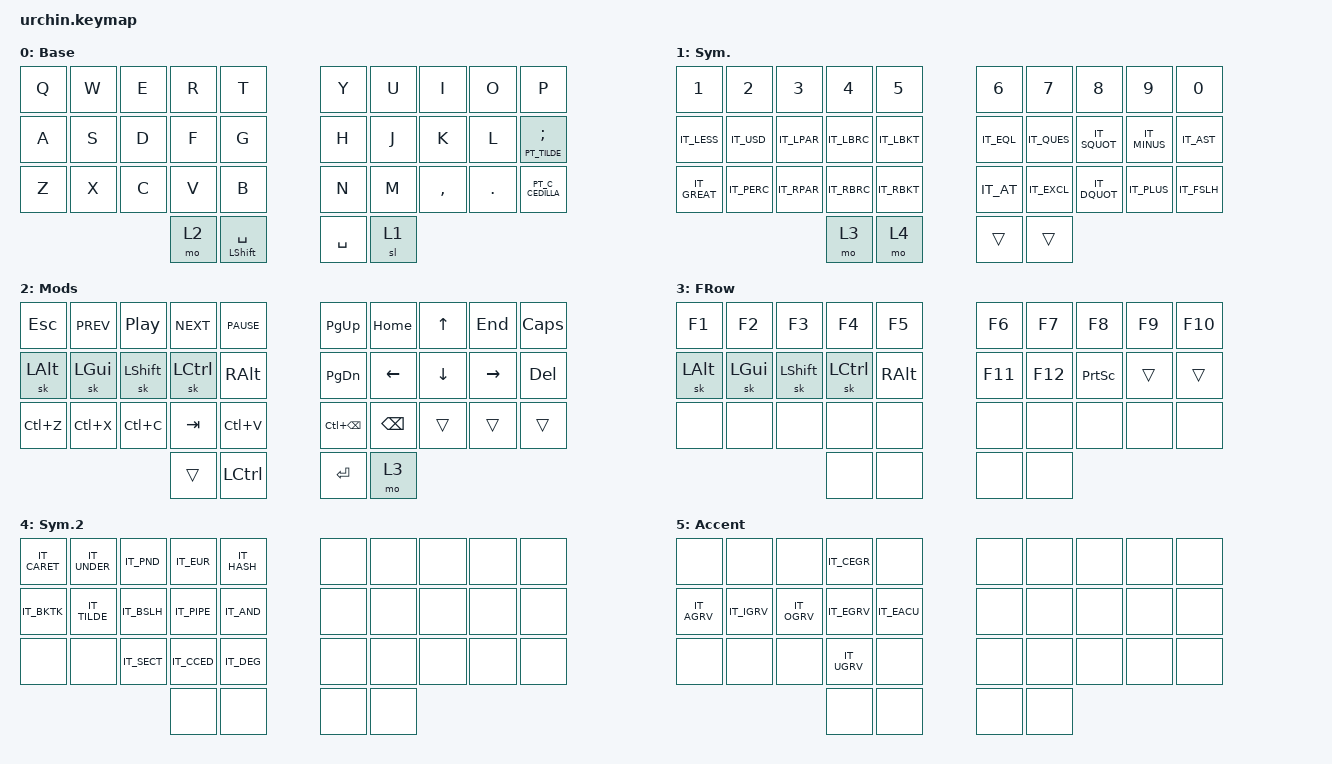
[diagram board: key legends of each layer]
/*
 * Copyright (c) 2020 duckyb
 *
 * SPDX-License-Identifier: MIT
 */

#include <behaviors.dtsi>
#include <dt-bindings/zmk/keys.h>
#include "keymap_italian.h"
#include "keys_pt_abnt2.h"

// Layer definitions

#define BASE 0
#define SYM 1
#define EXT 2
#define FNC 3
#define SYM2 4
#define ACCENT 5
#define SETTINGS 6

// -----------------

&sk {
    // don't release mods on other mods presses

    ignore-modifiers;
};

/ {
    behaviors {
        // Enables holding the first mod-tap key
        // by performing a tap-release-hold sequence.
        // To use it: "&qt KEYCODE1 KEYCODE2"

        qt: quick_tap {
            compatible = "zmk,behavior-hold-tap";
            label = "QUICK_TAP";
            #binding-cells = <2>;
            flavor = "hold-preferred";
            tapping-term-ms = <200>;
            quick-tap-ms = <200>;
            bindings = <&kp>, <&kp>;
        };
    };

    macros {
        // sometimes my device thinks a modifier is being held down
        // pressing all modifiers fixes it.

        unstick: unstick {
            label = "ZM_unstick";
            compatible = "zmk,behavior-macro";
            #binding-cells = <0>;
            bindings = <&kp LSHIFT &kp RSHIFT &kp LCTRL &kp RCTRL &kp LALT &kp RALT &kp LGUI &kp RGUI>;
        };
    };

    combos {
        compatible = "zmk,combos";

        // both right thumb keys

        combo_accent {
            timeout-ms = <200>;
            key-positions = <32 33>;
            bindings = <&mo 5>;
        };

        // internal-left & external-right thumb keys

        combo_sym2 {
            timeout-ms = <200>;
            key-positions = <31 33>;
            bindings = <&mo 4>;
        };

        // both left thumb keys

        combo_settings {
            timeout-ms = <200>;
            key-positions = <30 31>;
            bindings = <&mo 0>;
        };

        // left index & middle fingers (home-row)
        // hold control & space for Adobe workflow

        combo_ctrl_space {
            timeout-ms = <200>;
            key-positions = <12 13>;
            bindings = <&kp LC(SPACE)>;
            layers = <0>;
        };

        combo_studio_unlock {
            timeout-ms = <50>;
            key-positions = <0 1>; // Change these numbers to the keys you want to press together
            bindings = <&studio_unlock>;
        };
    };

    keymap {
        compatible = "zmk,keymap";

        // Base alpha layer

        default_layer {
            label = "Base";
            bindings = <
&kp Q  &kp W  &kp E  &kp R  &kp T             &kp Y      &kp U  &kp I      &kp O    &kp P
&kp A  &kp S  &kp D  &kp F  &kp G             &kp H      &kp J  &kp K      &kp L    &qt PT_TILDE SEMI
&kp Z  &kp X  &kp C  &kp V  &kp B             &kp N      &kp M  &kp COMMA  &kp DOT  &kp PT_C_CEDILLA
                     &mo 2  &qt LSHIFT SPACE  &kp SPACE  &sl 1
            >;
        };

        // Numbers and high frequency symbols

        sym_layer {
            label = "Sym.";
            bindings = <
&kp N1        &kp N2       &kp N3       &kp N4       &kp N5       &kp N6      &kp N7       &kp N8        &kp N9        &kp N0
&kp IT_LESS   &kp IT_USD   &kp IT_LPAR  &kp IT_LBRC  &kp IT_LBKT  &kp IT_EQL  &kp IT_QUES  &kp IT_SQUOT  &kp IT_MINUS  &kp IT_AST
&kp IT_GREAT  &kp IT_PERC  &kp IT_RPAR  &kp IT_RBRC  &kp IT_RBKT  &kp IT_AT   &kp IT_EXCL  &kp IT_DQUOT  &kp IT_PLUS   &kp IT_FSLH
                                        &mo 3        &mo 4        &trans      &trans
            >;
        };

        // Main modifiers and arrow keys

        ext_layer {
            label = "Mods";
            bindings = <
&kp ESC    &kp C_PREV  &kp C_PP    &kp C_NEXT  &kp C_PAUSE  &kp PG_UP     &kp HOME  &kp UP    &kp END    &kp CAPS
&sk LALT   &sk LGUI    &sk LSHIFT  &sk LCTRL   &kp RALT     &kp PG_DN     &kp LEFT  &kp DOWN  &kp RIGHT  &kp DEL
&kp LC(Z)  &kp LC(X)   &kp LC(C)   &kp TAB     &kp LC(V)    &kp LC(BSPC)  &kp BSPC  &trans    &trans     &trans
                                   &trans      &kp LCTRL    &kp ENTER     &mo 3
            >;
        };

        // Function keys with modifiers

        fnc_layer {
            label = "FRow";
            bindings = <
&kp F1    &kp F2    &kp F3      &kp F4     &kp F5    &kp F6   &kp F7   &kp F8           &kp F9  &kp F10
&sk LALT  &sk LGUI  &sk LSHIFT  &sk LCTRL  &kp RALT  &kp F11  &kp F12  &kp PRINTSCREEN  &trans  &trans
&none     &none     &none       &none      &none     &none    &none    &none            &none   &none
                                &none      &none     &none    &none
            >;
        };

        // Low frequency symbols.

        symbols_2_layer {
            label = "Sym.2";
            bindings = <
&kp IT_CARET  &kp IT_UNDER  &kp IT_PND   &kp IT_EUR   &kp IT_HASH  &none  &none  &none  &none  &none
&kp IT_BKTK   &kp IT_TILDE  &kp IT_BSLH  &kp IT_PIPE  &kp IT_AND   &none  &none  &none  &none  &none
&none         &none         &kp IT_SECT  &kp IT_CCED  &kp IT_DEG   &none  &none  &none  &none  &none
                                         &none        &none        &none  &none
            >;
        };

        // Used to type regional accents.

        accent_layer {
            label = "Accent";
            bindings = <
&none        &none        &none        &kp IT_CEGR  &none        &none  &none  &none  &none  &none
&kp IT_AGRV  &kp IT_IGRV  &kp IT_OGRV  &kp IT_EGRV  &kp IT_EACU  &none  &none  &none  &none  &none
&none        &none        &none        &kp IT_UGRV  &none        &none  &none  &none  &none  &none
                                       &none        &none        &none  &none
            >;
        };

        // Used to change the keyboard's settings.
    };
};
